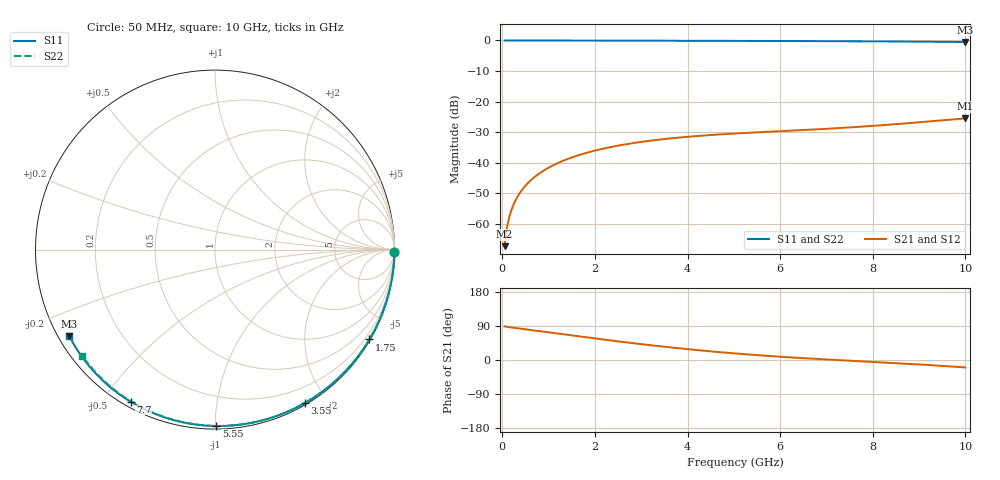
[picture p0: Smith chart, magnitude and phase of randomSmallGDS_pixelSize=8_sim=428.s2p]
! freq	dB(S11)	phase(S11)	dB(S12)	phase(S12)
!  dB(S21)	phase(S21)	dB(S22)	phase(S22)
!S-par simulation data
#  GHz  S  DB  R 50
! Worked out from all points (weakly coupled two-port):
!   200 points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, 50 MHz to 10 GHz, reference 50 ohm
!   highest |S21| = -25.47 dB at 10 GHz (marker M1); lowest = -67.3 dB at 50 MHz (marker M2)
!   lowest |S11| = -0.5 dB at 10 GHz (marker M3), VSWR 34.82, Z = 1.55 - j13.8 ohm
!   |S11| at or under -10 dB: nowhere
!   |S22| runs from -0.5 to 0.0 dB; largest |S21 - S12| = 0
!   S11 on the Smith chart (normalised r, x): 50 MHz: open; 1.75 GHz: 0.03, -3.71; 3.55 GHz: 0.02, -1.75; 5.55 GHz: 0.02, -1.01; 7.7 GHz: 0.02, -0.59; 10 GHz: 0.03, -0.28
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0.05  -0.00 -0.9  -67.25 88.8  -67.25 88.8  -0.00 -0.8
0.1  -0.00 -1.8  -61.26 87.7  -61.26 87.7  -0.00 -1.7
0.15  -0.00 -2.6  -57.78 86.7  -57.78 86.7  -0.00 -2.5
0.2  -0.00 -3.5  -55.31 85.8  -55.31 85.8  -0.00 -3.3
0.25  -0.00 -4.4  -53.40 85.0  -53.40 85.0  -0.00 -4.2
0.35  -0.00 -6.1  -50.52 83.4  -50.52 83.4  -0.00 -5.8
0.5  -0.01 -8.8  -47.47 81.0  -47.47 81.0  -0.01 -8.3
0.7  -0.01 -12.2  -44.60 77.7  -44.60 77.7  -0.01 -11.6
1  -0.02 -17.4  -41.59 72.8  -41.59 72.8  -0.02 -16.5
1.35  -0.03 -23.4  -39.11 67.1  -39.11 67.1  -0.03 -22.2
1.75  -0.04 -30.2  -37.04 60.7  -37.04 60.7  -0.04 -28.7
2.5  -0.06 -42.7  -34.38 49.1  -34.38 49.1  -0.05 -40.6
3.4  -0.08 -57.2  -32.39 36.3  -32.39 36.3  -0.07 -54.4
3.55  -0.08 -59.6  -32.14 34.3  -32.14 34.3  -0.08 -56.7
4.3  -0.10 -71.2  -31.14 25.1  -31.14 25.1  -0.10 -67.7
5.05  -0.13 -82.4  -30.40 17.0  -30.40 17.0  -0.12 -78.4
5.55  -0.15 -89.6  -30.00 12.4  -30.00 12.4  -0.14 -85.3
6.7  -0.21 -105.6  -29.13 3.5  -29.13 3.5  -0.20 -100.5
7.7  -0.27 -119.1  -28.24 -2.9  -28.24 -2.9  -0.26 -113.2
8.35  -0.33 -127.6  -27.53 -7.1  -27.53 -7.1  -0.31 -121.3
9.2  -0.41 -138.7  -26.50 -13.2  -26.50 -13.2  -0.39 -131.6
10  -0.50 -149.2  -25.47 -19.6  -25.47 -19.6  -0.47 -141.2
